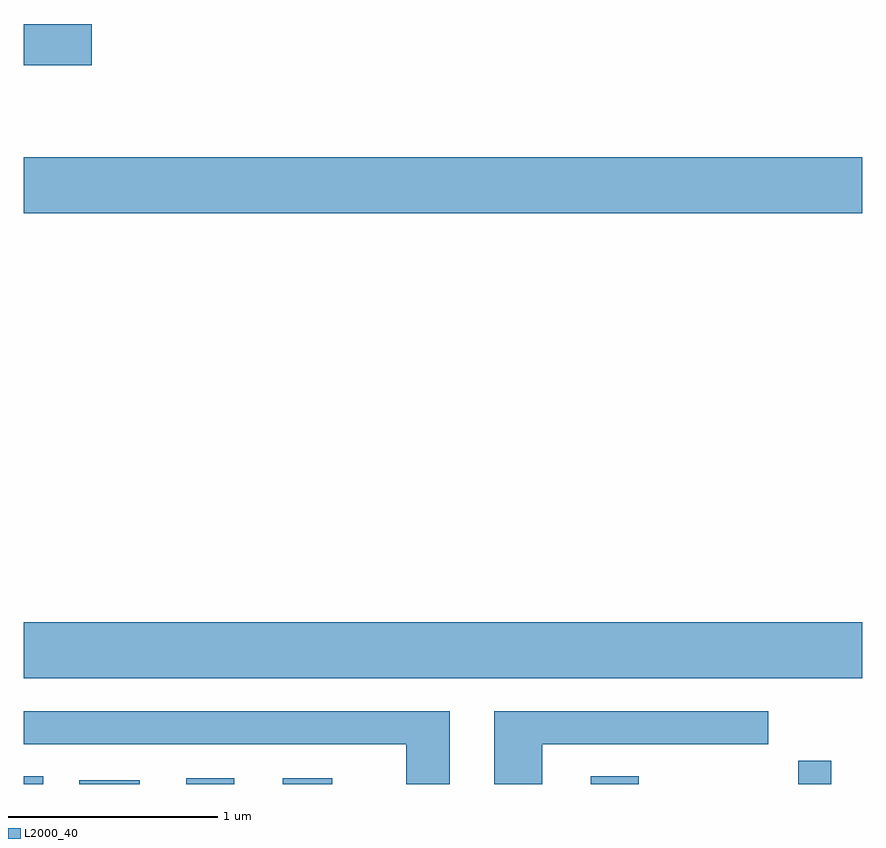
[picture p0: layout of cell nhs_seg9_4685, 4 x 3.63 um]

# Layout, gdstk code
import gdstk
lib = gdstk.Library(unit=1e-6, precision=1e-09)
def R(c, l, rs):  # rectangles x0, y0, x1, y1
    for r in rs: c.add(gdstk.rectangle(r[:2], r[2:], *l))
def P(c, l, *ps):  # polygons
    for p in ps: c.add(gdstk.Polygon(p, *l))
L2000_40 = (2000, 40)

nhs_seg9_4685 = lib.new_cell('nhs_seg9_4685')
R(nhs_seg9_4685, L2000_40, [(323.611,1982.432,323.704,1982.469), (323.876,1982.432,324.163,1982.449), (324.386,1982.432,324.614,1982.459), (324.846,1982.432,325.083,1982.459), (326.316,1982.432,326.544,1982.469), (327.306,1982.432,327.464,1982.543), (323.611,1982.936,327.611,1983.204), (323.611,1985.156,327.611,1985.424), (323.611,1985.861,323.934,1986.059)])
P(nhs_seg9_4685, L2000_40, [(326.084,1982.621),(327.163,1982.621),(327.163,1982.779),(325.856,1982.779),(325.856,1982.432),(326.084,1982.432)],
  [(325.644,1982.779),(323.611,1982.779),(323.611,1982.621),(325.436,1982.621),(325.436,1982.432),(325.644,1982.432)])

lib.write_gds('nhs_seg9_4685.gds')
